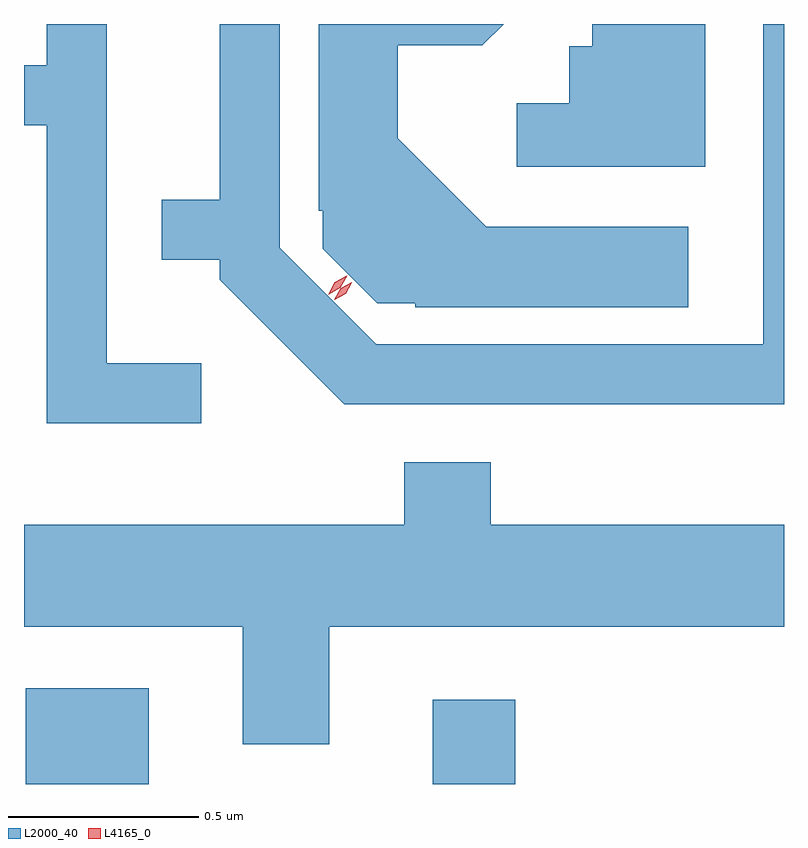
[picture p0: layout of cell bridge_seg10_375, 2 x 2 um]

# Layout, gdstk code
import gdstk
lib = gdstk.Library(unit=1e-6, precision=1e-09)
def R(c, l, rs):  # rectangles x0, y0, x1, y1
    for r in rs: c.add(gdstk.rectangle(r[:2], r[2:], *l))
def P(c, l, *ps):  # polygons
    for p in ps: c.add(gdstk.Polygon(p, *l))
L2000_40 = (2000, 40)
L4165_0 = (4165, 0)

bridge_seg10_375 = lib.new_cell('bridge_seg10_375')
R(bridge_seg10_375, L2000_40, [(1062.616,2162.342,1062.939,2162.594), (1063.686,2162.342,1063.904,2162.564)])
P(bridge_seg10_375, L2000_40, [(1063.078,2163.449),(1062.829,2163.449),(1062.829,2164.342),(1062.671,2164.342),(1062.671,2164.234),(1062.611,2164.234),(1062.611,2164.076),(1062.671,2164.076),(1062.671,2163.291),(1063.078,2163.291)],
  [(1064.611,2164.342),(1064.556,2164.342),(1064.556,2163.499),(1063.538,2163.499),(1063.284,2163.753),(1063.284,2164.342),(1063.126,2164.342),(1063.126,2163.879),(1062.973,2163.879),(1062.973,2163.721),(1063.126,2163.721),(1063.126,2163.669),(1063.454,2163.341),(1064.611,2163.341)],
  [(1064.404,2164.342),(1064.106,2164.342),(1064.106,2164.284),(1064.046,2164.284),(1064.046,2164.134),(1063.908,2164.134),(1063.908,2163.966),(1064.404,2163.966)],
  [(1064.359,2163.809),(1063.827,2163.809),(1063.594,2164.042),(1063.594,2164.286),(1063.817,2164.286),(1063.873,2164.342),(1063.386,2164.342),(1063.386,2163.85),(1063.397,2163.85),(1063.397,2163.75),(1063.54,2163.607),(1063.64,2163.607),(1063.64,2163.596),(1064.359,2163.596)],
  [(1063.414,2162.756),(1064.611,2162.756),(1064.611,2163.024),(1063.839,2163.024),(1063.839,2163.189),(1063.611,2163.189),(1063.611,2163.024),(1062.611,2163.024),(1062.611,2162.756),(1063.186,2162.756),(1063.186,2162.446),(1063.414,2162.446)])
P(bridge_seg10_375, L4165_0, [(1063.411,2163.63),(1063.411,2163.63),(1063.429,2163.662),(1063.46,2163.68),(1063.461,2163.68),(1063.461,2163.679),(1063.443,2163.648),(1063.412,2163.63)],
  [(1063.428,2163.616),(1063.428,2163.616),(1063.444,2163.646),(1063.474,2163.662),(1063.474,2163.662),(1063.474,2163.661),(1063.458,2163.632),(1063.429,2163.616)])

lib.write_gds('bridge_seg10_375.gds')
